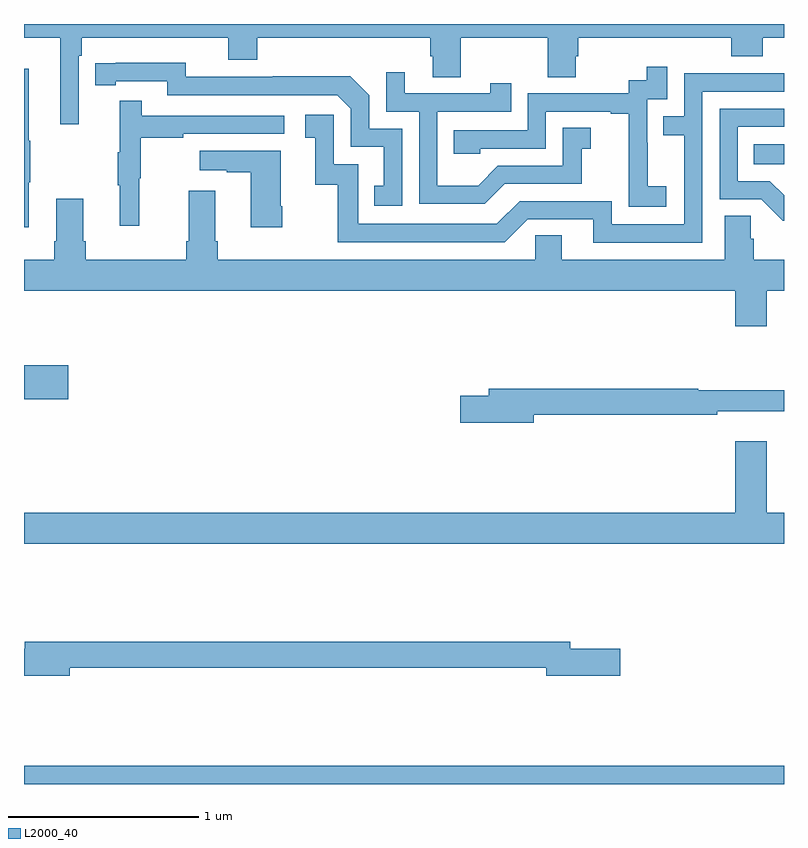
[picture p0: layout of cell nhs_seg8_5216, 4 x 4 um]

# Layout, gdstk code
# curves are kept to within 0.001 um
import gdstk
lib = gdstk.Library(unit=1e-6, precision=1e-09)
def R(c, l, rs):  # rectangles x0, y0, x1, y1
    for r in rs: c.add(gdstk.rectangle(r[:2], r[2:], *l))
def P(c, l, *ps):  # polygons
    for p in ps: c.add(gdstk.Polygon(p, *l))
L2000_40 = (2000, 40)

nhs_seg8_5216 = lib.new_cell('nhs_seg8_5216')
R(nhs_seg8_5216, L2000_40, [(425,1117.9,429,1117.996), (425,1119.926,425.233,1120.104), (428.842,1121.162,429,1121.266)])
P(nhs_seg8_5216, L2000_40, [(425.289,1121.732),(425.303,1121.732),(425.303,1121.828),(426.074,1121.828),(426.074,1121.711),(426.227,1121.711),(426.227,1121.828),(427.139,1121.828),(427.139,1121.73),(427.151,1121.73),(427.151,1121.62),(427.299,1121.62),(427.299,1121.828),(427.756,1121.828),(427.756,1121.62),(427.903,1121.62),(427.903,1121.73),(427.916,1121.73),(427.916,1121.828),(428.723,1121.828),(428.723,1121.729),(428.888,1121.729),(428.888,1121.828),(429,1121.828),(429,1121.9),(425,1121.9),(425,1121.828),(425.192,1121.828),(425.192,1121.373),(425.289,1121.373)],
  [(426.99,1121.349),(426.816,1121.349),(426.816,1121.526),(426.718,1121.624),(426.31,1121.624),(426.31,1121.622),(425.85,1121.622),(425.85,1121.695),(425.374,1121.694),(425.374,1121.578),(425.482,1121.578),(425.482,1121.598),(425.754,1121.598),(425.754,1121.526),(426.648,1121.526),(426.72,1121.454),(426.72,1121.253),(426.893,1121.253),(426.893,1121.049),(426.844,1121.049),(426.844,1120.944),(426.99,1120.944)],
  [(428.38,1121.047),(428.282,1121.047),(428.282,1121.276),(428.28,1121.276),(428.28,1121.505),(428.385,1121.505),(428.385,1121.674),(428.277,1121.674),(428.277,1121.604),(428.184,1121.604),(428.184,1121.535),(427.65,1121.535),(427.65,1121.34),(427.261,1121.34),(427.261,1121.217),(427.401,1121.217),(427.401,1121.244),(427.746,1121.244),(427.746,1121.439),(428.087,1121.439),(428.087,1121.427),(428.183,1121.427),(428.183,1121.143),(428.182,1121.143),(428.182,1120.937),(428.38,1120.937)],
  [(425.026,1121.068),(425.034,1121.068),(425.034,1121.285),(425.026,1121.285),(425.026,1121.665),(425,1121.665),(425,1120.83),(425.026,1120.83)],
  [(427.531,1121.058),(427.935,1121.058),(427.935,1121.243),(427.984,1121.243),(427.984,1121.353),(427.836,1121.353),(427.836,1121.154),(427.494,1121.154),(427.39,1121.05),(427.176,1121.05),(427.176,1121.439),(427.565,1121.439),(427.565,1121.587),(427.454,1121.587),(427.454,1121.535),(427.003,1121.535),(427.003,1121.647),(426.906,1121.647),(426.906,1121.439),(427.08,1121.439),(427.08,1120.953),(427.426,1120.953)],
  [(428.571,1121.544),(429,1121.544),(429,1121.642),(428.971,1121.642),(428.971,1121.64),(428.475,1121.64),(428.475,1121.415),(428.365,1121.415),(428.365,1121.314),(428.475,1121.314),(428.475,1120.845),(428.094,1120.845),(428.094,1120.968),(427.608,1120.968),(427.488,1120.848),(426.759,1120.848),(426.759,1121.163),(426.63,1121.163),(426.63,1121.422),(426.48,1121.422),(426.48,1121.301),(426.533,1121.301),(426.533,1121.055),(426.651,1121.055),(426.651,1120.752),(427.53,1120.752),(427.65,1120.872),(427.997,1120.872),(427.997,1120.749),(428.571,1120.749)],
  [(425.606,1121.088),(425.614,1121.088),(425.614,1121.302),(425.837,1121.302),(425.837,1121.322),(426.37,1121.322),(426.37,1121.418),(425.621,1121.418),(425.621,1121.497),(425.504,1121.497),(425.504,1121.225),(425.493,1121.225),(425.493,1121.051),(425.504,1121.051),(425.504,1120.839),(425.606,1120.839)],
  [(429,1120.999),(428.926,1121.073),(428.757,1121.073),(428.757,1121.358),(429,1121.358),(429,1121.454),(428.661,1121.454),(428.661,1120.977),(428.88,1120.977),(428.993,1120.865),(429,1120.865)],
  [(426.36,1120.942),(426.352,1120.942),(426.352,1121.233),(425.925,1121.233),(425.925,1121.129),(426.068,1121.129),(426.068,1121.119),(426.194,1121.119),(426.194,1120.83),(426.36,1120.83)],
  [(428.908,1120.496),(429,1120.496),(429,1120.66),(428.84,1120.66),(428.84,1120.769),(428.826,1120.769),(428.826,1120.892),(428.687,1120.892),(428.687,1120.66),(427.831,1120.66),(427.831,1120.787),(427.692,1120.787),(427.692,1120.66),(426.02,1120.66),(426.02,1120.756),(426.007,1120.756),(426.007,1121.023),(425.867,1121.023),(425.867,1120.756),(425.855,1120.756),(425.855,1120.66),(425.324,1120.66),(425.324,1120.756),(425.311,1120.756),(425.311,1120.981),(425.171,1120.981),(425.171,1120.756),(425.159,1120.756),(425.159,1120.66),(425,1120.66),(425,1120.496),(428.744,1120.496),(428.744,1120.308),(428.908,1120.308)],
  [(427.684,1119.844),(428.648,1119.844),(428.648,1119.863),(429,1119.863),(429,1119.973),(428.549,1119.973),(428.549,1119.98),(427.445,1119.98),(427.445,1119.944),(427.296,1119.944),(427.296,1119.802),(427.684,1119.802)],
  [(429,1119.328),(428.908,1119.328),(428.908,1119.703),(428.744,1119.703),(428.744,1119.328),(425,1119.328),(425,1119.164),(429,1119.164)],
  [(425.242,1118.512),(427.748,1118.512),(427.748,1118.47),(428.137,1118.47),(428.137,1118.612),(427.876,1118.612),(427.876,1118.648),(425.003,1118.648),(425.003,1118.612),(425,1118.612),(425,1118.47),(425.242,1118.47)])

lib.write_gds('nhs_seg8_5216.gds')
